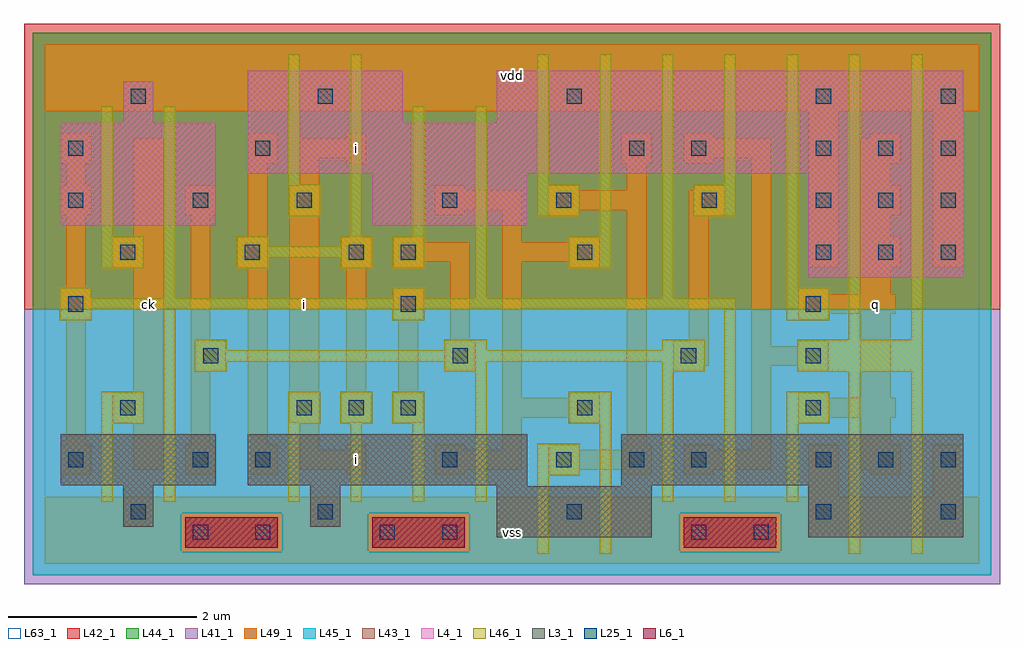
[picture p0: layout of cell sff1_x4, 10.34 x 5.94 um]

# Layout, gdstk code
import gdstk
lib = gdstk.Library(unit=1e-6, precision=1e-09)
def R(c, l, rs):  # rectangles x0, y0, x1, y1
    for r in rs: c.add(gdstk.rectangle(r[:2], r[2:], *l))
def A(c, l, x, y, w, h, nx, ny, dx, dy):  # array of equal rectangles
    R(c, l, [(x+i*dx, y+j*dy, x+i*dx+w, y+j*dy+h) for i in range(nx) for j in range(ny)])
L3_1 = (3, 1)
L4_1 = (4, 1)
L6_1 = (6, 1)
L25_1 = (25, 1)
L41_1 = (41, 1)
L42_1 = (42, 1)
L43_1 = (43, 1)
L44_1 = (44, 1)
L45_1 = (45, 1)
L46_1 = (46, 1)
L49_1 = (49, 1)
L63_1 = (63, 1)

sff1_x4 = lib.new_cell('sff1_x4')
R(sff1_x4, L3_1, [(4.79,0.28,6.43,0.82), (8.09,0.28,9.73,0.83), (0.83,0.39,1.15,0.83), (2.81,0.39,3.13,0.83), (4.79,0.82,5.11,0.83), (6.11,0.82,6.43,0.83), (0.17,0.83,1.81,1.37), (2.15,0.83,5.11,1.37), (6.11,0.83,9.73,1.37)])
R(sff1_x4, L4_1, [(8.09,3.03,9.73,4.13), (0.17,3.58,1.81,4.67), (3.47,3.58,5.11,4.13), (2.15,4.13,9.73,4.67), (0.83,4.67,1.15,5.11), (2.15,4.67,3.79,5.22), (4.79,4.67,9.73,5.22)])
R(sff1_x4, L6_1, [(1.49,0.17,2.47,0.49), (3.47,0.17,4.45,0.49), (6.77,0.17,7.75,0.49)])
A(sff1_x4, L25_1, 2.89, 0.47, 0.16, 0.16, 3, 2, 2.64, 4.4)
A(sff1_x4, L25_1, 8.17, 1.02, 0.16, 0.16, 3, 2, 0.66, 2.2)
A(sff1_x4, L25_1, 2.67, 1.57, 0.16, 0.16, 3, 1, 0.55, 0)
A(sff1_x4, L25_1, 8.06, 1.57, 0.16, 0.16, 1, 3, 0, 0.55)
A(sff1_x4, L25_1, 8.17, 3.77, 0.16, 0.16, 3, 2, 0.66, 0.55)
R(sff1_x4, L25_1, [(1.57,0.25,1.73,0.41), (2.23,0.25,2.39,0.41), (3.55,0.25,3.71,0.41), (4.21,0.25,4.37,0.41), (6.85,0.25,7.01,0.41), (7.51,0.25,7.67,0.41), (0.91,0.47,1.07,0.63), (9.49,0.47,9.65,0.63), (0.25,1.02,0.41,1.18), (1.57,1.02,1.73,1.18), (2.23,1.02,2.39,1.18), (4.21,1.02,4.37,1.18), (5.42,1.02,5.58,1.18), (6.19,1.02,6.35,1.18), (6.85,1.02,7.01,1.18), (0.8,1.57,0.96,1.73), (5.64,1.57,5.8,1.73), (1.68,2.12,1.84,2.28), (4.32,2.12,4.48,2.28), (6.74,2.12,6.9,2.28), (0.25,2.67,0.41,2.83), (3.77,2.67,3.93,2.83), (0.8,3.22,0.96,3.38), (2.12,3.22,2.28,3.38), (3.22,3.22,3.38,3.38), (3.77,3.22,3.93,3.38), (5.64,3.22,5.8,3.38), (0.25,3.77,0.41,3.93), (1.57,3.77,1.73,3.93), (2.67,3.77,2.83,3.93), (4.21,3.77,4.37,3.93), (5.42,3.77,5.58,3.93), (6.96,3.77,7.12,3.93), (0.25,4.32,0.41,4.48), (2.23,4.32,2.39,4.48), (6.19,4.32,6.35,4.48), (6.85,4.32,7.01,4.48), (0.91,4.87,1.07,5.03), (9.49,4.87,9.65,5.03)])
R(sff1_x4, L41_1, [(-0.22,-0.22,10.12,2.695)])
R(sff1_x4, L42_1, [(-0.22,2.695,10.12,5.72)])
R(sff1_x4, L43_1, [(1.49,0.17,2.47,0.49), (3.47,0.17,4.45,0.49), (6.77,0.17,7.75,0.49), (4.79,0.28,6.43,0.82), (8.09,0.28,9.73,0.83), (0.83,0.39,1.15,0.83), (2.81,0.39,3.13,0.83), (4.79,0.82,5.11,0.83), (6.11,0.82,6.43,0.83), (0.17,0.83,1.81,1.37), (2.15,0.83,5.11,1.37), (6.11,0.83,9.73,1.37), (8.09,3.03,9.73,4.13), (0.17,3.58,1.81,4.67), (3.47,3.58,5.11,4.13), (2.15,4.13,9.73,4.67), (0.83,4.67,1.15,5.11), (2.15,4.67,3.79,5.22), (4.79,4.67,9.73,5.22)])
R(sff1_x4, L44_1, [(1.445,0.125,2.515,0.535), (3.425,0.125,4.495,0.535), (6.725,0.125,7.795,0.535), (-0.125,2.695,10.025,5.625)])
R(sff1_x4, L45_1, [(-0.125,-0.125,10.025,0.125), (-0.125,0.125,1.445,0.535), (2.515,0.125,3.425,0.535), (4.495,0.125,6.725,0.535), (7.795,0.125,10.025,0.535), (-0.125,0.535,10.025,2.695)])
A(sff1_x4, L46_1, 2.58, 0.655, 0.12, 0.825, 3, 1, 0.66, 0)
A(sff1_x4, L46_1, 2.58, 1.48, 0.34, 0.34, 3, 1, 0.55, 0)
R(sff1_x4, L46_1, [(5.22,0.105,5.34,0.93), (5.88,0.105,6,1.48), (8.52,0.105,8.64,2.03), (9.18,0.105,9.3,2.03), (0.6,0.655,0.72,1.48), (1.26,0.655,1.38,2.69), (4.56,0.655,4.68,2.03), (6.54,0.655,6.66,2.03), (7.2,0.655,7.32,2.69), (7.86,0.655,7.98,1.48), (5.22,0.93,5.67,1.27), (0.6,1.48,1.05,1.82), (5.55,1.48,6,1.82), (7.86,1.48,8.31,1.82), (1.59,2.03,1.93,2.14), (4.23,2.03,4.68,2.14), (6.54,2.03,6.99,2.14), (7.97,2.03,9.3,2.37), (1.59,2.14,6.99,2.26), (1.59,2.26,1.93,2.37), (4.23,2.26,4.68,2.37), (6.54,2.26,6.99,2.37), (8.52,2.37,8.64,5.395), (9.18,2.37,9.3,5.395), (0.16,2.58,0.5,2.69), (3.68,2.58,4.02,2.69), (7.86,2.58,8.31,2.92), (0.16,2.69,7.32,2.81), (0.16,2.81,0.5,2.92), (1.26,2.81,1.38,4.845), (3.68,2.81,4.02,2.92), (4.56,2.81,4.68,4.845), (6.54,2.81,6.66,5.395), (7.86,2.92,7.98,5.395), (0.6,3.13,1.05,3.47), (2.03,3.13,2.37,3.24), (3.13,3.13,3.47,3.24), (3.68,3.13,4.02,3.47), (5.55,3.13,6,3.47), (2.03,3.24,3.47,3.36), (2.03,3.36,2.37,3.47), (3.13,3.36,3.47,3.47), (0.6,3.47,0.72,4.845), (3.24,3.47,3.36,5.395), (3.9,3.47,4.02,4.845), (5.88,3.47,6,5.395), (2.58,3.68,2.92,4.02), (5.22,3.68,5.67,4.02), (6.87,3.68,7.32,4.02), (2.58,4.02,2.7,5.395), (5.22,4.02,5.34,5.395), (7.2,4.02,7.32,5.395)])
R(sff1_x4, L49_1, [(0,0,9.9,0.71), (8.09,0.71,8.41,1.26), (9.41,0.71,9.73,1.26), (0.17,0.94,0.49,1.26), (1.49,0.94,1.81,1.26), (2.15,0.94,2.47,1.26), (3.195,0.94,3.405,0.995), (4.13,0.94,4.45,0.995), (5.34,0.94,5.66,0.995), (6.11,0.94,6.43,0.995), (6.77,0.94,7.09,0.995), (8.75,0.94,9.07,0.995), (0.94,0.995,1.26,1.49), (2.7,0.995,3.405,1.205), (4.13,0.995,5.055,1.205), (5.34,0.995,6.43,1.205), (6.77,0.995,7.695,1.205), (8.64,0.995,9.07,1.26), (2.7,1.205,2.91,1.49), (3.195,1.205,3.405,1.26), (4.13,1.205,4.45,1.26), (4.845,1.205,5.055,1.545), (5.34,1.205,5.66,1.26), (6.11,1.205,6.43,1.26), (6.77,1.205,7.09,1.26), (7.485,1.205,7.695,2.095), (0.225,1.26,0.435,2.59), (1.545,1.26,1.755,2.04), (2.15,1.26,2.36,3.14), (6.165,1.26,6.375,3.745), (8.64,1.26,8.96,1.545), (0.72,1.49,1.26,1.81), (2.59,1.49,2.91,4.01), (3.14,1.49,3.46,1.81), (3.69,1.49,4.01,1.81), (5.56,1.49,5.88,1.545), (7.98,1.49,8.3,1.545), (4.845,1.545,5.88,1.755), (7.98,1.545,9.015,1.755), (4.845,1.755,5.055,3.195), (5.56,1.755,5.88,1.81), (7.98,1.755,8.3,1.81), (8.64,1.755,8.96,2.645), (0.94,1.81,1.26,3.14), (3.195,1.81,3.405,3.14), (3.745,1.81,3.955,2.59), (1.545,2.04,1.92,2.36), (4.24,2.04,4.56,2.36), (6.66,2.04,6.98,2.095), (7.98,2.04,8.3,2.095), (6.66,2.095,7.035,2.36), (7.485,2.095,8.3,2.305), (7.485,2.305,7.695,4.295), (7.98,2.305,8.3,2.36), (1.545,2.36,1.755,3.69), (4.295,2.36,4.505,3.195), (6.825,2.36,7.035,3.69), (0.17,2.59,0.49,2.91), (3.69,2.59,4.01,2.91), (7.98,2.59,8.3,2.645), (7.98,2.645,9.015,2.855), (7.98,2.855,8.3,2.91), (8.64,2.855,8.96,3.14), (0.225,2.91,0.435,3.69), (0.72,3.14,1.26,3.46), (2.04,3.14,2.36,3.46), (3.14,3.14,3.46,3.46), (3.69,3.14,4.01,3.195), (5.56,3.14,5.88,3.195), (8.09,3.14,8.41,4.79), (8.64,3.14,9.07,3.46), (9.41,3.14,9.73,4.79), (3.69,3.195,4.505,3.405), (4.845,3.195,5.88,3.405), (3.69,3.405,4.01,3.46), (4.845,3.405,5.055,3.745), (5.56,3.405,5.88,3.46), (0.94,3.46,1.26,4.505), (2.15,3.46,2.36,4.24), (8.64,3.46,8.96,3.69), (0.17,3.69,0.49,4.01), (1.49,3.69,1.81,4.01), (4.13,3.69,4.45,3.745), (5.34,3.69,5.66,3.745), (6.825,3.69,7.2,3.955), (8.64,3.69,9.07,4.01), (4.13,3.745,5.055,3.955), (5.34,3.745,6.375,3.955), (4.13,3.955,4.45,4.01), (5.34,3.955,5.66,4.01), (6.165,3.955,6.375,4.24), (6.88,3.955,7.2,4.01), (0.225,4.01,0.435,4.24), (2.7,4.01,2.91,4.295), (8.64,4.01,8.96,4.24), (0.17,4.24,0.49,4.56), (2.15,4.24,2.47,4.56), (3.195,4.24,3.405,4.295), (6.11,4.24,6.43,4.56), (6.77,4.24,7.09,4.295), (8.64,4.24,9.07,4.505), (2.7,4.295,3.405,4.505), (6.77,4.295,7.695,4.505), (3.195,4.505,3.405,4.56), (6.77,4.505,7.09,4.56), (8.75,4.505,9.07,4.56), (0,4.79,9.9,5.5)])
R(sff1_x4, L63_1, [(0,0,9.9,5.5)])
sff1_x4.add(gdstk.Label('ck', (1.1,2.75), layer=49, texttype=1))
sff1_x4.add(gdstk.Label('ck', (1.1,2.75), layer=49, texttype=1))
sff1_x4.add(gdstk.Label('i', (3.3,1.1), layer=49, texttype=1))
sff1_x4.add(gdstk.Label('i', (3.3,1.1), layer=49, texttype=1))
sff1_x4.add(gdstk.Label('i', (2.75,2.75), layer=49, texttype=1))
sff1_x4.add(gdstk.Label('i', (2.75,2.75), layer=49, texttype=1))
sff1_x4.add(gdstk.Label('i', (3.3,4.4), layer=49, texttype=1))
sff1_x4.add(gdstk.Label('i', (3.3,4.4), layer=49, texttype=1))
sff1_x4.add(gdstk.Label('vss', (4.95,0.33), layer=49, texttype=1))
sff1_x4.add(gdstk.Label('vss', (4.95,0.33), layer=49, texttype=1))
sff1_x4.add(gdstk.Label('vdd', (4.95,5.17), layer=49, texttype=1))
sff1_x4.add(gdstk.Label('vdd', (4.95,5.17), layer=49, texttype=1))
sff1_x4.add(gdstk.Label('q', (8.8,2.75), layer=49, texttype=1))
sff1_x4.add(gdstk.Label('q', (8.8,2.75), layer=49, texttype=1))

lib.write_gds('sff1_x4.gds')
